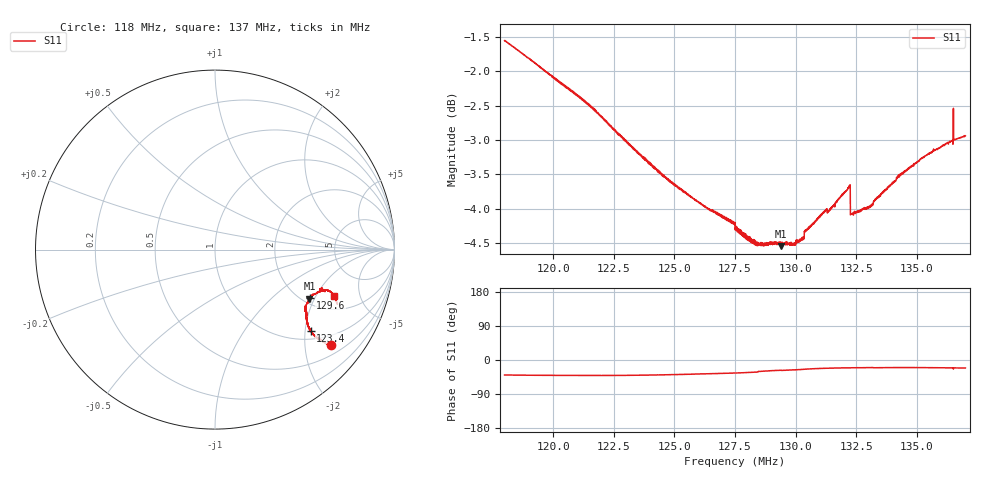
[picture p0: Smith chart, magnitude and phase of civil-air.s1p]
! Calibrated averaged scanner-service zoom
# Hz S RI R 50
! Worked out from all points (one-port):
!   2001 points, 118 MHz to 137 MHz, reference 50 ohm
!   lowest |S11| = -4.5 dB at 129.4 MHz (marker M1), VSWR 3.91, Z = 108 - j91.3 ohm
!   |S11| at or under -10 dB: nowhere
!   S11 on the Smith chart (normalised r, x): 118 MHz: 0.74, -2.60; 123.4 MHz: 1.22, -2.14; 129.6 MHz: 2.20, -1.85; 137 MHz: 2.75, -2.88
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1.18e8  0.6447 -0.5319
1.191305e8  0.6172 -0.5222
1.20375e8  0.5911 -0.5063
1.21667e8  0.5633 -0.4886
1.2275e8  0.5424 -0.4654
1.23358e8  0.5322 -0.4511
1.25125e8  0.5144 -0.4036
1.275e8  0.5098 -0.3471
1.28355e8  0.5068 -0.314
1.285545e8  0.5147 -0.2954
1.291815e8  0.5282 -0.2749
1.294095e8  0.5262 -0.273
1.295805e8  0.5314 -0.2715
1.29875e8  0.5336 -0.2626
1.30255e8  0.5428 -0.2531
1.304545e8  0.5562 -0.248
1.310055e8  0.5758 -0.2362
1.31547e8  0.5901 -0.2302
1.32155e8  0.611 -0.2321
1.3225e8  0.6142 -0.2331
1.323545e8  0.5866 -0.2189
1.32953e8  0.5944 -0.2168
1.33105e8  0.5959 -0.2169
1.333045e8  0.6008 -0.2245
1.34625e8  0.6338 -0.2297
1.36373e8  0.6598 -0.2492
1.36411e8  0.6611 -0.2501
1.37e8  0.6648 -0.2574
